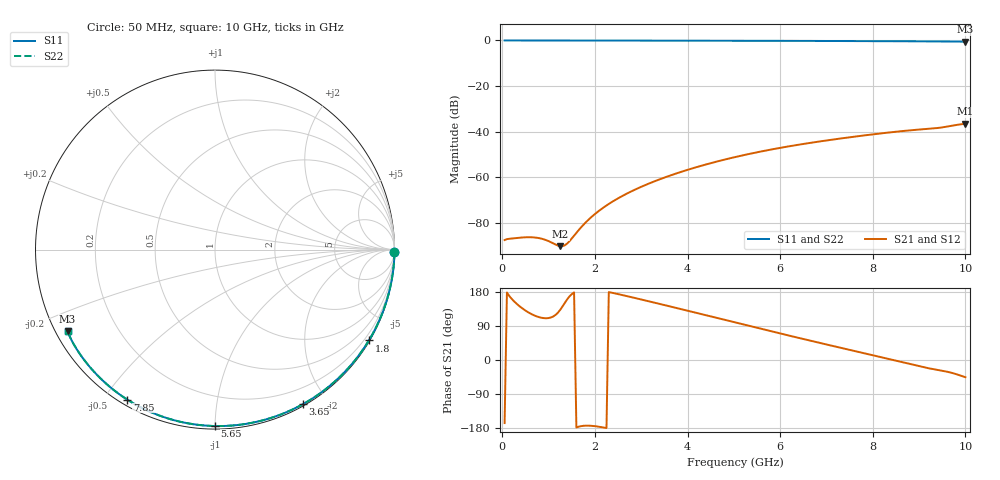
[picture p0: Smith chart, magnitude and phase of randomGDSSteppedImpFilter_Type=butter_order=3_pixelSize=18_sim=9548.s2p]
! freq	dB(S11)	phase(S11)	dB(S12)	phase(S12)
!  dB(S21)	phase(S21)	dB(S22)	phase(S22)
!S-par simulation data
#  GHz  S  DB  R 50
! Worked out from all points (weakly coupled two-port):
!   200 points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, 50 MHz to 10 GHz, reference 50 ohm
!   highest |S21| = -36.48 dB at 10 GHz (marker M1); lowest = -90.1 dB at 1.25 GHz (marker M2)
!   lowest |S11| = -0.6 dB at 10 GHz (marker M3), VSWR 31.30, Z = 1.7 - j12.9 ohm
!   |S11| at or under -10 dB: nowhere
!   |S22| runs from -0.6 to 0.0 dB; largest |S21 - S12| = 0
!   S11 on the Smith chart (normalised r, x): 50 MHz: open; 1.8 GHz: 0.03, -3.66; 3.65 GHz: 0.02, -1.72; 5.65 GHz: 0.02, -1.00; 7.85 GHz: 0.02, -0.57; 10 GHz: 0.03, -0.26
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0.05  -0.00 -0.9  -87.46 -166.5  -87.46 -166.5  -0.00 -0.9
0.65  -0.01 -11.2  -86.25 119.9  -86.25 119.9  -0.01 -11.2
1.25  -0.03 -21.4  -90.14 132.3  -90.14 132.3  -0.03 -21.4
1.75  -0.04 -29.7  -80.80 -173.7  -80.80 -173.7  -0.04 -29.7
1.8  -0.04 -30.6  -79.75 -173.3  -79.75 -173.3  -0.04 -30.6
1.95  -0.04 -33.0  -76.91 -173.9  -76.91 -173.9  -0.04 -33.0
2.1  -0.05 -35.5  -74.46 -176.3  -74.46 -176.3  -0.05 -35.5
2.45  -0.05 -41.3  -69.76 175.3  -69.76 175.3  -0.05 -41.2
2.9  -0.06 -48.5  -65.04 162.6  -65.04 162.6  -0.06 -48.5
3.4  -0.07 -56.4  -60.83 148.0  -60.83 148.0  -0.07 -56.4
3.65  -0.08 -60.4  -59.01 140.6  -59.01 140.6  -0.08 -60.4
4.3  -0.10 -70.3  -54.89 121.2  -54.89 121.2  -0.10 -70.3
5.05  -0.12 -81.5  -50.99 98.6  -50.99 98.6  -0.12 -81.5
5.65  -0.15 -90.1  -48.40 80.5  -48.40 80.5  -0.15 -90.1
6.15  -0.17 -97.2  -46.53 65.6  -46.53 65.6  -0.17 -97.2
6.7  -0.20 -104.8  -44.72 49.6  -44.72 49.6  -0.20 -104.8
7.25  -0.24 -112.3  -43.11 33.8  -43.11 33.8  -0.24 -112.3
7.85  -0.28 -120.4  -41.52 16.8  -41.52 16.8  -0.28 -120.4
8.35  -0.32 -127.1  -40.33 2.5  -40.33 2.5  -0.32 -127.1
9.4  -0.43 -141.3  -38.36 -26.2  -38.36 -26.2  -0.43 -141.3
9.75  -0.47 -146.6  -37.21 -35.4  -37.21 -35.4  -0.47 -146.6
10  -0.56 -151.1  -36.48 -45.5  -36.48 -45.5  -0.56 -151.1
